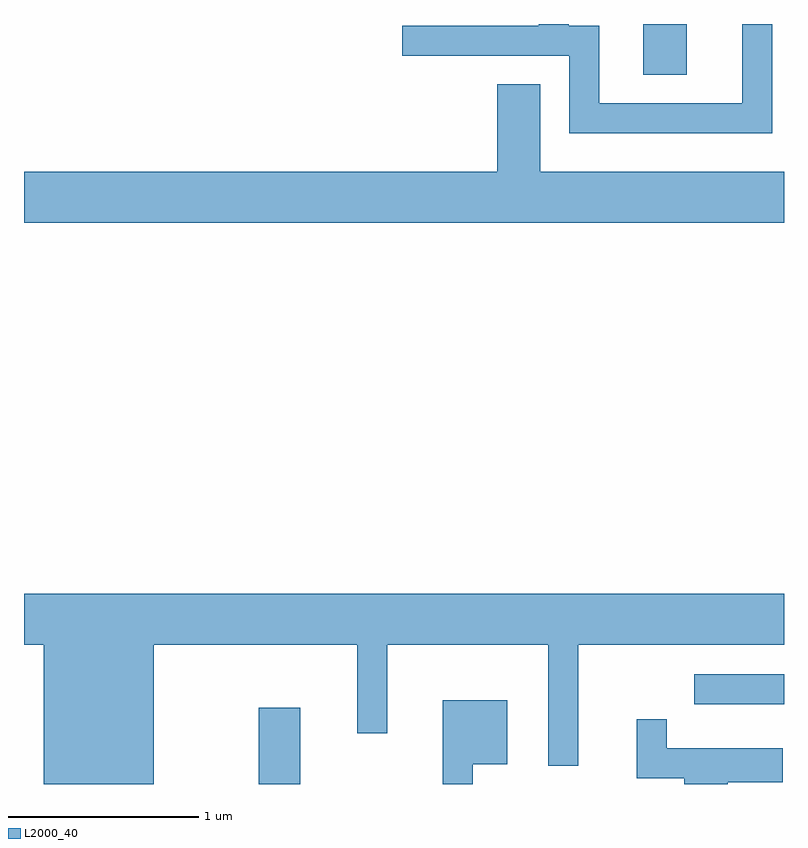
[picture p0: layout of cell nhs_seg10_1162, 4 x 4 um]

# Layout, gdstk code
import gdstk
lib = gdstk.Library(unit=1e-6, precision=1e-09)
def R(c, l, rs):  # rectangles x0, y0, x1, y1
    for r in rs: c.add(gdstk.rectangle(r[:2], r[2:], *l))
def P(c, l, *ps):  # polygons
    for p in ps: c.add(gdstk.Polygon(p, *l))
L2000_40 = (2000, 40)

nhs_seg10_1162 = lib.new_cell('nhs_seg10_1162')
R(nhs_seg10_1162, L2000_40, [(220.846,2106.522,221.064,2106.924), (223.138,2106.941,223.611,2107.099), (222.871,2110.256,223.099,2110.522)])
P(nhs_seg10_1162, L2000_40, [(223.549,2110.522),(223.391,2110.522),(223.391,2110.104),(222.639,2110.104),(222.639,2110.514),(222.479,2110.514),(222.479,2110.522),(222.321,2110.522),(222.321,2110.514),(221.603,2110.514),(221.603,2110.356),(222.481,2110.356),(222.481,2109.946),(223.549,2109.946)],
  [(223.611,2109.744),(222.329,2109.744),(222.329,2110.204),(222.101,2110.204),(222.101,2109.744),(219.611,2109.744),(219.611,2109.476),(223.611,2109.476)],
  [(220.294,2107.256),(221.366,2107.256),(221.366,2106.788),(221.524,2106.788),(221.524,2107.256),(222.371,2107.256),(222.371,2106.618),(222.529,2106.618),(222.529,2107.256),(223.611,2107.256),(223.611,2107.524),(219.611,2107.524),(219.611,2107.256),(219.716,2107.256),(219.716,2106.522),(220.294,2106.522)],
  [(221.974,2106.626),(222.154,2106.626),(222.154,2106.964),(221.816,2106.964),(221.816,2106.522),(221.974,2106.522)],
  [(223.314,2106.531),(223.604,2106.531),(223.604,2106.709),(222.994,2106.709),(222.994,2106.863),(222.836,2106.863),(222.836,2106.551),(223.086,2106.551),(223.086,2106.522),(223.314,2106.522)])

lib.write_gds('nhs_seg10_1162.gds')
